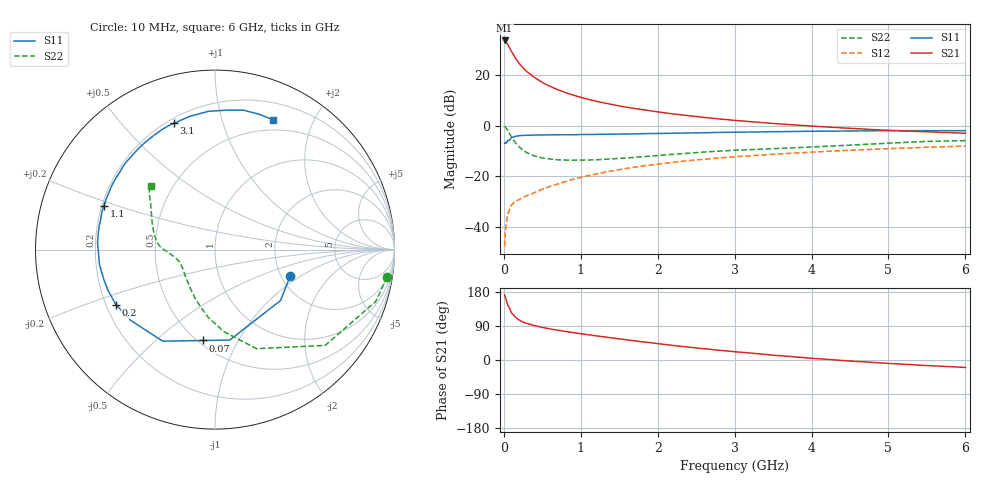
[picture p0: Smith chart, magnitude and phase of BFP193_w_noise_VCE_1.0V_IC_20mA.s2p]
! Infineon Technologies  Discrete & RF Semiconductors
! BFP193
! VCE =  1.0 V,  IC =  20 mA
! Common Emitter S-Parameters:  Jan 2017
# GHz  S  MA  R  50
!  f  S11  S21  S12  S22
! GHz  MAG  ANG  MAG  ANG  MAG  ANG  MAG  ANG
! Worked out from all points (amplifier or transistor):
!   77 points, 10 MHz to 6 GHz, reference 50 ohm
!   highest |S21| = 33.5 dB at 10 MHz (marker M1)
!   |S21| within 3 dB of that: start of sweep to 75.67 MHz
!   unconditionally stable (mu >= 1): 770.9 MHz to 2.798 GHz
!   at 130 MHz: K = 0.40, MSG = 29.0 dB, |S12| = -30.4 dB
!   at 2.2 GHz: K = 1.03, MAG = 8.5 dB, |S12| = -14.5 dB
!   at 6 GHz: K = 0.96, MSG = 2.5 dB, |S12| = -8.1 dB
!   lowest NFmin = 1.05 dB at 450 MHz
!   S11 on the Smith chart (normalised r, x): 10 MHz: 2.23, -0.82; 70 MHz: 0.53, -0.73; 200 MHz: 0.24, -0.25; 1.1 GHz: 0.21, +0.18; 3.1 GHz: 0.23, +0.70; 6 GHz: 0.38, +1.47
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0.01  0.4436 -19.6  47.36 172.1  0.0042 83.9  0.9716 -9.0
0.02  0.4625 -37.8  46.83 164.6  0.0084 81.9  0.941 -17.9
0.05  0.5106 -80.7  39.79 144.8  0.018 63.1  0.8134 -41.0
0.07  0.5108 -97.5  34.83 138.2  0.0215 57.3  0.7105 -49.6
0.1  0.5874 -119.7  28.63 124.2  0.0271 51.6  0.5983 -67.3
0.15  0.6124 -139.6  21.24 112.7  0.0321 47.2  0.4598 -83.8
0.2  0.6314 -150.9  16.66 105.4  0.0348 46.5  0.379 -95.8
0.25  0.6376 -159.0  13.62 100.0  0.0385 47.0  0.3257 -104.8
0.3  0.6411 -164.6  11.5 96.4  0.0416 48.6  0.2913 -112.6
0.4  0.6492 -172.6  8.766 90.4  0.0477 51.9  0.2512 -124.0
0.5  0.6498 -178.8  7.052 85.9  0.0555 54.3  0.23 -133.0
0.6  0.6556 176.6  5.915 82.0  0.0631 55.5  0.2192 -140.1
0.7  0.6565 172.4  5.08 78.7  0.0704 57.0  0.2108 -145.6
0.9  0.6588 165.0  3.967 72.3  0.0875 57.9  0.2077 -153.7
1.1  0.6661 158.4  3.276 66.6  0.1034 57.6  0.2095 -159.6
1.5  0.6782 146.6  2.431 55.8  0.1352 54.7  0.225 -168.4
2.1  0.7006 130.1  1.772 40.9  0.1809 48.6  0.2634 -176.9
2.6  0.7213 118.4  1.446 29.7  0.2164 42.6  0.3005 177.8
3.1  0.7401 108.1  1.227 20.2  0.2474 36.6  0.3299 171.2
4.1  0.772 91.2  0.956 3.2  0.3042 25.1  0.3833 156.1
5.1  0.7921 77.1  0.792 -10.1  0.3545 13.7  0.4558 142.4
6  0.792 66.1  0.705 -19.7  0.3932 3.9  0.504 135.3
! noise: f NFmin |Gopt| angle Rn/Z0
0.45  1.05  0.27  180  0.07
0.9  1.13  0.36  -178  0.07
1.9  1.76  0.56  -140  0.15
2.4  2.1  0.62  -124  0.34
